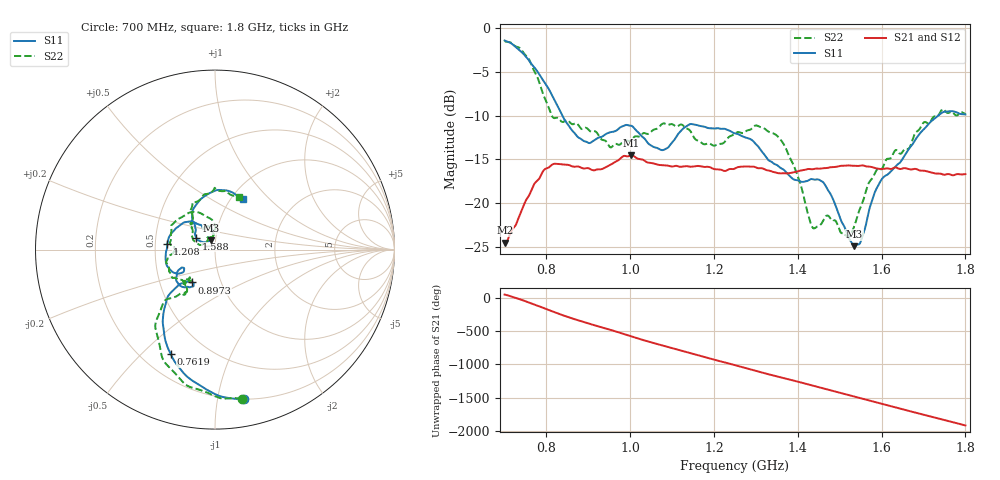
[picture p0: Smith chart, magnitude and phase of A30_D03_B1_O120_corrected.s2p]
! Created with skrf 1.9.0 (http://scikit-rf.org).
# Hz S RI R 50.0
!freq ReS11 ImS11 ReS21 ImS21 ReS12 ImS12 ReS22 ImS22
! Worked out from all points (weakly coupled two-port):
!   1601 points, 700 MHz to 1.8 GHz, reference 50 ohm
!   highest |S21| = -14.53 dB at 1.002 GHz (marker M1); lowest = -24.5 dB at 700.7 MHz (marker M2)
!   lowest |S11| = -24.9 dB at 1.535 GHz (marker M3), VSWR 1.12, Z = 47.5 + j4.98 ohm
!   |S11| at or under -10 dB: 838 MHz to 1.735 GHz (896.6 MHz wide, 69.7 % of centre)
!   |S22| runs from -23.9 to -1.5 dB; largest |S21 - S12| = 0.0035
!   S11 on the Smith chart (normalised r, x): 700 MHz: 0.20, -1.19; 761.9 MHz: 0.32, -0.62; 897.3 MHz: 0.73, -0.28; 1.208 GHz: 0.58, +0.04; 1.588 GHz: 0.81, +0.10; 1.8 GHz: 1.13, +0.71
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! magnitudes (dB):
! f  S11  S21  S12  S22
! 700 MHz  -1.4  -24.5  -24.3  -1.5
! 700.7 MHz  -1.4  -24.5  -24.2  -1.5
! 761.9 MHz  -4.0  -18.8  -18.7  -3.9
! 814.8 MHz  -7.8  -15.6  -15.6  -10.2
! 883.6 MHz  -12.7  -16.0  -15.9  -11.5
! 897.3 MHz  -13.0  -16.0  -16.1  -11.5
! 953 MHz  -11.9  -15.6  -15.6  -13.6
! 1.002 GHz  -11.2  -14.5  -14.6  -12.8
! 1.067 GHz  -13.8  -15.6  -15.5  -11.4
! 1.142 GHz  -11.0  -15.8  -15.8  -11.7
! 1.208 GHz  -11.4  -16.1  -16.2  -13.3
! 1.25 GHz  -12.0  -16.0  -16.0  -12.1
! 1.357 GHz  -15.9  -16.6  -16.5  -12.6
! 1.434 GHz  -17.2  -16.1  -16.1  -22.6
! 1.464 GHz  -17.9  -16.0  -16.0  -21.6
! 1.519 GHz  -23.6  -15.7  -15.7  -23.9
! 1.535 GHz  -24.9  -15.7  -15.7  -22.6
! 1.552 GHz  -24.1  -15.7  -15.7  -20.2
! 1.588 GHz  -18.4  -16.0  -16.0  -16.2
! 1.617 GHz  -16.6  -16.1  -16.0  -14.9
! 1.737 GHz  -9.9  -16.6  -16.7  -9.9
! 1.8 GHz  -9.9  -16.7  -16.7  -9.8
